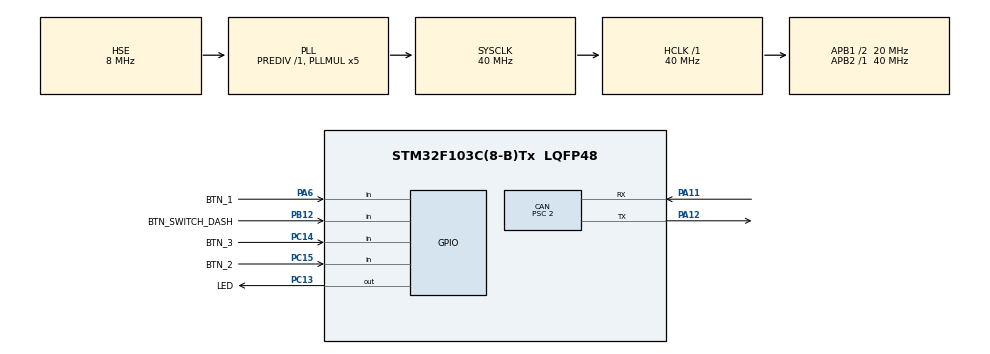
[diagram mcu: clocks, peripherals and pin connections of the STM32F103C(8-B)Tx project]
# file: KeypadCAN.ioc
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CAN.BS1=CAN_BS1_8TQ
CAN.CalculateBaudRate=1000000
CAN.CalculateTimeBit=1000
CAN.CalculateTimeQuantum=100.0
CAN.Mode=CAN_MODE_NORMAL
CAN.Prescaler=2
Mcu.Family=STM32F1
Mcu.Name=STM32F103C(8-B)Tx
Mcu.Package=LQFP48
NVIC.PriorityGroup=NVIC_PRIORITYGROUP_4
NVIC.TIM2_IRQn=true\:0\:0\:false\:false\:true\:true\:true\:true
PA11.GPIO_PuPd=GPIO_PULLUP
PA11.Mode=CAN_Activate
PA11.Signal=CAN_RX
PA12.Mode=CAN_Activate
PA12.Signal=CAN_TX
PA13.Mode=Trace_Asynchronous_SW
PA13.Signal=SYS_JTMS-SWDIO
PA14.Mode=Trace_Asynchronous_SW
PA14.Signal=SYS_JTCK-SWCLK
PA6.GPIO_Label=BTN_1
PA6.GPIO_PuPd=GPIO_PULLUP
PA6.Signal=GPIO_Input
PB12.GPIO_Label=BTN_SWITCH_DASH
PB12.GPIO_PuPd=GPIO_PULLDOWN
PB12.Signal=GPIO_Input
PB3.Mode=Trace_Asynchronous_SW
PB3.Signal=SYS_JTDO-TRACESWO
PC13-TAMPER-RTC.GPIO_Label=LED
PC13-TAMPER-RTC.GPIO_PuPd=GPIO_PULLUP
PC13-TAMPER-RTC.Signal=GPIO_Output
PC14-OSC32_IN.GPIO_Label=BTN_3
PC14-OSC32_IN.GPIO_PuPd=GPIO_PULLUP
PC14-OSC32_IN.Signal=GPIO_Input
PC15-OSC32_OUT.GPIO_Label=BTN_2
PC15-OSC32_OUT.GPIO_PuPd=GPIO_PULLUP
PC15-OSC32_OUT.Signal=GPIO_Input
PD0-OSC_IN.Mode=HSE-External-Oscillator
PD0-OSC_IN.Signal=RCC_OSC_IN
PD1-OSC_OUT.Mode=HSE-External-Oscillator
PD1-OSC_OUT.Signal=RCC_OSC_OUT
ProjectManager.HeapSize=0x200
ProjectManager.StackSize=0x400
ProjectManager.TargetToolchain=STM32CubeIDE
RCC.AHBFreq_Value=40000000
RCC.APB1CLKDivider=RCC_HCLK_DIV2
RCC.APB1Freq_Value=20000000
RCC.APB1TimFreq_Value=40000000
RCC.APB2Freq_Value=40000000
RCC.APB2TimFreq_Value=40000000
RCC.HCLKFreq_Value=40000000
RCC.PLLMUL=RCC_PLL_MUL5
RCC.PLLSourceVirtual=RCC_PLLSOURCE_HSE
RCC.PWREXT_OverDrive=PWREXT_OverDrive_ACTIVATED
RCC.PWR_Regulator_Voltage_Scale=PWR_REGULATOR_VOLTAGE_SCALE1
RCC.RCC_TIM_PRescaler_Selection=RCC_TIMPRES_DESACTIVATED
RCC.SYSCLKFreq_VALUE=40000000
RCC.SYSCLKSource=RCC_SYSCLKSOURCE_PLLCLK
RCC.USBFreq_Value=40000000
TIM2.Period=59999
TIM2.Prescaler=19
VP_TIM2_VS_ClockSourceINT.Mode=Internal
board=custom

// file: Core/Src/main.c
/* USER CODE BEGIN Header */
/**
  ******************************************************************************
  * @file           : main.c
  * @brief          : Main program body
  ******************************************************************************
  * @attention
  *
  * Copyright (c) 2024 STMicroelectronics.
  * All rights reserved.
  *
  * This software is licensed under terms that can be found in the LICENSE file
  * in the root directory of this software component.
  * If no LICENSE file comes with this software, it is provided AS-IS.
  *
  ******************************************************************************
  */
/* USER CODE END Header */
#include "main.h"

/* USER CODE BEGIN PD */
#define CAN_ID 0x726
#define CAN_DLC 2
/* USER CODE END PD */

/* USER CODE BEGIN PM */
CAN_TxHeaderTypeDef   TxHeader;
uint8_t               TxData[8];
uint32_t              TxMailbox;

// Default pull up
GPIO_PinState btn1SwitchState = 1;
GPIO_PinState btn2SwitchState = 1;
GPIO_PinState btn3SwitchState = 1;
/* USER CODE END PM */

CAN_HandleTypeDef hcan;

TIM_HandleTypeDef htim2;

void SystemClock_Config(void);
static void MX_GPIO_Init(void);
static void MX_CAN_Init(void);
static void MX_TIM2_Init(void);

int main(void)
{

  /* MCU Configuration--------------------------------------------------------*/

  /* Reset of all peripherals, Initializes the Flash interface and the Systick. */
  HAL_Init();

  /* Configure the system clock */
  SystemClock_Config();

  /* Initialize all configured peripherals */
  MX_GPIO_Init();
  MX_CAN_Init();
  MX_TIM2_Init();
  /* USER CODE BEGIN 2 */
  HAL_TIM_Base_Start_IT(&htim2);
  /* USER CODE END 2 */

  /* Infinite loop */
  /* USER CODE BEGIN WHILE */
  while (1)
  {
	  HAL_GPIO_TogglePin(LED_GPIO_Port,LED_Pin);
	  HAL_Delay(1000);
    /* USER CODE END WHILE */

  }
}

void SystemClock_Config(void)
{
  RCC_OscInitTypeDef RCC_OscInitStruct = {0};
  RCC_ClkInitTypeDef RCC_ClkInitStruct = {0};

  /** Initializes the RCC Oscillators according to the specified parameters
  * in the RCC_OscInitTypeDef structure.
  */
  RCC_OscInitStruct.OscillatorType = RCC_OSCILLATORTYPE_HSE;
  RCC_OscInitStruct.HSEState = RCC_HSE_ON;
  RCC_OscInitStruct.HSEPredivValue = RCC_HSE_PREDIV_DIV1;
  RCC_OscInitStruct.HSIState = RCC_HSI_ON;
  RCC_OscInitStruct.PLL.PLLState = RCC_PLL_ON;
  RCC_OscInitStruct.PLL.PLLSource = RCC_PLLSOURCE_HSE;
  RCC_OscInitStruct.PLL.PLLMUL = RCC_PLL_MUL5;
  if (HAL_RCC_OscConfig(&RCC_OscInitStruct) != HAL_OK)
  {
    Error_Handler();
  }

  /** Initializes the CPU, AHB and APB buses clocks
  */
  RCC_ClkInitStruct.ClockType = RCC_CLOCKTYPE_HCLK|RCC_CLOCKTYPE_SYSCLK
                              |RCC_CLOCKTYPE_PCLK1|RCC_CLOCKTYPE_PCLK2;
  RCC_ClkInitStruct.SYSCLKSource = RCC_SYSCLKSOURCE_PLLCLK;
  RCC_ClkInitStruct.AHBCLKDivider = RCC_SYSCLK_DIV1;
  RCC_ClkInitStruct.APB1CLKDivider = RCC_HCLK_DIV2;
  RCC_ClkInitStruct.APB2CLKDivider = RCC_HCLK_DIV1;

  if (HAL_RCC_ClockConfig(&RCC_ClkInitStruct, FLASH_LATENCY_1) != HAL_OK)
  {
    Error_Handler();
  }
}

static void MX_CAN_Init(void)
{

  hcan.Instance = CAN1;
  hcan.Init.Prescaler = 2;
  hcan.Init.Mode = CAN_MODE_NORMAL;
  hcan.Init.SyncJumpWidth = CAN_SJW_1TQ;
  hcan.Init.TimeSeg1 = CAN_BS1_8TQ;
  hcan.Init.TimeSeg2 = CAN_BS2_1TQ;
  hcan.Init.TimeTriggeredMode = DISABLE;
  hcan.Init.AutoBusOff = DISABLE;
  hcan.Init.AutoWakeUp = DISABLE;
  hcan.Init.AutoRetransmission = DISABLE;
  hcan.Init.ReceiveFifoLocked = DISABLE;
  hcan.Init.TransmitFifoPriority = DISABLE;
  if (HAL_CAN_Init(&hcan) != HAL_OK)
  {
    Error_Handler();
  }
  /* USER CODE BEGIN CAN_Init 2 */
  if (HAL_CAN_Start(&hcan) != HAL_OK){
	/* Start Error */
	Error_Handler();
  }
  /* USER CODE END CAN_Init 2 */

}

static void MX_TIM2_Init(void)
{

  TIM_ClockConfigTypeDef sClockSourceConfig = {0};
  TIM_MasterConfigTypeDef sMasterConfig = {0};

  htim2.Instance = TIM2;
  htim2.Init.Prescaler = 19;
  htim2.Init.CounterMode = TIM_COUNTERMODE_UP;
  htim2.Init.Period = 59999;
  htim2.Init.ClockDivision = TIM_CLOCKDIVISION_DIV1;
  htim2.Init.AutoReloadPreload = TIM_AUTORELOAD_PRELOAD_DISABLE;
  if (HAL_TIM_Base_Init(&htim2) != HAL_OK)
  {
    Error_Handler();
  }
  sClockSourceConfig.ClockSource = TIM_CLOCKSOURCE_INTERNAL;
  if (HAL_TIM_ConfigClockSource(&htim2, &sClockSourceConfig) != HAL_OK)
  {
    Error_Handler();
  }
  sMasterConfig.MasterOutputTrigger = TIM_TRGO_RESET;
  sMasterConfig.MasterSlaveMode = TIM_MASTERSLAVEMODE_DISABLE;
  if (HAL_TIMEx_MasterConfigSynchronization(&htim2, &sMasterConfig) != HAL_OK)
  {
    Error_Handler();
  }

}

static void MX_GPIO_Init(void)
{
  GPIO_InitTypeDef GPIO_InitStruct = {0};

  /* GPIO Ports Clock Enable */
  __HAL_RCC_GPIOC_CLK_ENABLE();
  __HAL_RCC_GPIOD_CLK_ENABLE();
  __HAL_RCC_GPIOA_CLK_ENABLE();
  __HAL_RCC_GPIOB_CLK_ENABLE();

  /*Configure GPIO pin Output Level */
  HAL_GPIO_WritePin(LED_GPIO_Port, LED_Pin, GPIO_PIN_RESET);

  /*Configure GPIO pin : LED_Pin */
  GPIO_InitStruct.Pin = LED_Pin;
  GPIO_InitStruct.Mode = GPIO_MODE_OUTPUT_PP;
  GPIO_InitStruct.Pull = GPIO_PULLUP;
  GPIO_InitStruct.Speed = GPIO_SPEED_FREQ_LOW;
  HAL_GPIO_Init(LED_GPIO_Port, &GPIO_InitStruct);

  /*Configure GPIO pins : BTN_3_Pin BTN_2_Pin */
  GPIO_InitStruct.Pin = BTN_3_Pin|BTN_2_Pin;
  GPIO_InitStruct.Mode = GPIO_MODE_INPUT;
  GPIO_InitStruct.Pull = GPIO_PULLUP;
  HAL_GPIO_Init(GPIOC, &GPIO_InitStruct);

  /*Configure GPIO pin : BTN_1_Pin */
  GPIO_InitStruct.Pin = BTN_1_Pin;
  GPIO_InitStruct.Mode = GPIO_MODE_INPUT;
  GPIO_InitStruct.Pull = GPIO_PULLUP;
  HAL_GPIO_Init(BTN_1_GPIO_Port, &GPIO_InitStruct);

  /*Configure GPIO pin : BTN_SWITCH_DASH_Pin */
  GPIO_InitStruct.Pin = BTN_SWITCH_DASH_Pin;
  GPIO_InitStruct.Mode = GPIO_MODE_INPUT;
  GPIO_InitStruct.Pull = GPIO_PULLDOWN;
  HAL_GPIO_Init(BTN_SWITCH_DASH_GPIO_Port, &GPIO_InitStruct);

}

/* USER CODE BEGIN 4 */
void HAL_TIM_PeriodElapsedCallback(TIM_HandleTypeDef* htim)
{
    GPIO_PinState btn1_state = HAL_GPIO_ReadPin(BTN_1_GPIO_Port, BTN_1_Pin);
    if(btn1SwitchState == 1 && !btn1_state){
    	TxHeader.IDE = CAN_ID_STD;
		TxHeader.StdId = CAN_ID;
		TxHeader.RTR = CAN_RTR_DATA;
		TxHeader.DLC = CAN_DLC;

		TxData[0] = 0x01;

		if (HAL_CAN_AddTxMessage(&hcan, &TxHeader, TxData, &TxMailbox) != HAL_OK)
		{
		 Error_Handler ();
		}
    }
    btn1SwitchState = btn1_state;

    GPIO_PinState btn2_state = HAL_GPIO_ReadPin(BTN_2_GPIO_Port, BTN_2_Pin);
    if(btn2SwitchState == 1 && !btn2_state){
    	TxHeader.IDE = CAN_ID_STD;
		TxHeader.StdId = CAN_ID;
		TxHeader.RTR = CAN_RTR_DATA;
		TxHeader.DLC = CAN_DLC;

		TxData[0] = 0x02;

		if (HAL_CAN_AddTxMessage(&hcan, &TxHeader, TxData, &TxMailbox) != HAL_OK)
		{
		 Error_Handler ();
		}
    }
    btn2SwitchState = btn2_state;

    GPIO_PinState btn3_state = HAL_GPIO_ReadPin(BTN_3_GPIO_Port, BTN_3_Pin);
    if(btn3SwitchState == 1 && !btn3_state){
    	TxHeader.IDE = CAN_ID_STD;
		TxHeader.StdId = CAN_ID;
		TxHeader.RTR = CAN_RTR_DATA;
		TxHeader.DLC = CAN_DLC;

		TxData[0] = 0x03;

		if (HAL_CAN_AddTxMessage(&hcan, &TxHeader, TxData, &TxMailbox) != HAL_OK)
		{
		 Error_Handler ();
		}
    }
    btn3SwitchState = btn3_state;

}
/* USER CODE END 4 */

void Error_Handler(void)
{
  __disable_irq();
  while (1)
  {
  }
}
